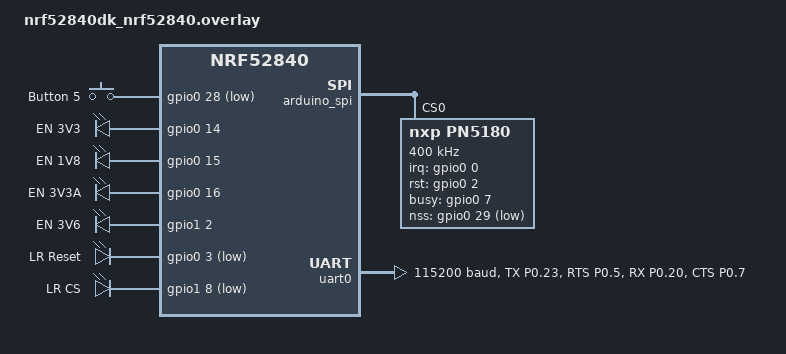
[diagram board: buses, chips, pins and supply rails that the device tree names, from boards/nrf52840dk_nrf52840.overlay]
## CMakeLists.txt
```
cmake_minimum_required(VERSION 3.20.0)

# Add the PN5180 driver module before finding Zephyr
list(APPEND EXTRA_ZEPHYR_MODULES ${CMAKE_CURRENT_SOURCE_DIR}/../pn5180)

find_package(Zephyr REQUIRED HINTS $ENV{ZEPHYR_BASE})

project(pn5180_nfc_app)

# Add source files
target_sources(app PRIVATE
    src/main.c
    src/power_ctrl.c
)

# Add include directories
target_include_directories(app PRIVATE
    ../pn5180/include
)
```

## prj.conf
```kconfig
# SPI Configuration
CONFIG_SPI=y

# GPIO Configuration
CONFIG_GPIO=y

# Logging
CONFIG_LOG=y
# CONFIG_SHELL=y
CONFIG_LOG_DEFAULT_LEVEL=3

# PN5180 Driver
CONFIG_PN5180=y
CONFIG_PN5180_LOG_LEVEL=3
CONFIG_PN5180_INIT_PRIORITY=80

# Threading support (these are enabled by default in Zephyr)
CONFIG_MULTITHREADING=y

# Enable button for testing
CONFIG_SPI_ASYNC=y
CONFIG_SPI_SLAVE=y

CONFIG_LOG=y
CONFIG_LOG_MODE_IMMEDIATE=y
CONFIG_SERIAL=y
CONFIG_CONSOLE=y
CONFIG_UART_CONSOLE=y
CONFIG_LOG_BACKEND_UART=y
```

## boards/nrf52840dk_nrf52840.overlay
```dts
&arduino_spi {
	status = "okay";
	pn5180: pn5180@0 {
 		compatible = "nxp,pn5180";
		reg = <0>;
		spi-max-frequency = <400000>;
		irq-gpios = <&gpio0 0 GPIO_ACTIVE_HIGH>;
		rst-gpios = <&gpio0 2 GPIO_ACTIVE_HIGH>;
		busy-gpios = <&gpio0 7 GPIO_ACTIVE_HIGH>;
		nss-gpios = <&gpio0 29 GPIO_ACTIVE_LOW>;
		timeout-ms = <5000>;
	};
};


/* ---------- PINCTRL configuration ---------- */
&pinctrl {
    uart0_default: uart0_default {
        group1 {
            psels = <NRF_PSEL(UART_TX, 0, 23)>,
                    <NRF_PSEL(UART_RTS, 0, 5)>;
        };
        group2 {
            psels = <NRF_PSEL(UART_RX, 0, 20)>,
                    <NRF_PSEL(UART_CTS, 0, 7)>;
            bias-pull-up;
        };
    };

    uart0_sleep: uart0_sleep {
        group1 {
            psels = <NRF_PSEL(UART_TX, 0, 23)>,
                    <NRF_PSEL(UART_RX, 0, 20)>,
                    <NRF_PSEL(UART_RTS, 0, 5)>,
                    <NRF_PSEL(UART_CTS, 0, 7)>;
            low-power-enable;
        };
    };
};

/* ---------- UART configuration ---------- */
&uart0 {
    compatible = "nordic,nrf-uarte";
    status = "okay";
    current-speed = <115200>;

    /* Link pinctrl groups */
    pinctrl-0 = <&uart0_default>;
    pinctrl-1 = <&uart0_sleep>;
    pinctrl-names = "default", "sleep";

    /* Optional: disable HW flow control if not used */
    // hw-flow-control;
};	
	

// &spi1 {	
// 	status="disabled";
// };	
	

/* Wake-up GPIO configuration */
/ {
	aliases {
		wakeup = &button5;
	};
	
	buttons {
		compatible = "gpio-keys";

        button5: button_5 {
            label = "Button 5";
            gpios = <&gpio0 28 (GPIO_ACTIVE_LOW | GPIO_PULL_UP)>;
        };

	};

	enables {
		compatible = "gpio-leds";

		en3v3: en3v3 {
			gpios = <&gpio0 14 GPIO_ACTIVE_HIGH>;
			label = "EN 3V3";
		};

		en1v8: en1v8 {
			gpios = <&gpio0 15 GPIO_ACTIVE_HIGH>;
			label = "EN 1V8";
		};

		en3v3a: en3v3a {
			gpios = <&gpio0 16 GPIO_ACTIVE_HIGH>;
			label = "EN 3V3A";
		};

		en3v6: en3v6 {
			gpios = <&gpio1 2 GPIO_ACTIVE_HIGH>;
			label = "EN 3V6";
		};

		lrreset: lrreset {
			gpios = <&gpio0 3 GPIO_ACTIVE_LOW>;
			label = "LR Reset";
		};

		lrcs: lrcs {
			gpios = <&gpio1 8 GPIO_ACTIVE_LOW>;
			label = "LR CS";
		};
	};
};
```

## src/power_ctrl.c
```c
#include "power_ctrl.h"

#include <zephyr/device.h>
#include <zephyr/devicetree.h>
#include <zephyr/drivers/gpio.h>
#include <zephyr/kernel.h>
#include <zephyr/logging/log.h>
#include <zephyr/sys/util.h>

LOG_MODULE_REGISTER(power_ctrl, LOG_LEVEL_INF);

#define EN3V3_NODE DT_NODELABEL(en3v3)
#define EN1V8_NODE DT_NODELABEL(en1v8)
#define EN3V3A_NODE DT_NODELABEL(en3v3a)
#define EN3V6_NODE DT_NODELABEL(en3v6)
#define LR_RESET_NODE DT_NODELABEL(lrreset)
#define LR_CS_NODE DT_NODELABEL(lrcs)

static const struct gpio_dt_spec power_gpios[POWER_DOMAIN_COUNT] = {
    GPIO_DT_SPEC_GET_OR(EN3V3_NODE, gpios, {0}),
    GPIO_DT_SPEC_GET_OR(EN1V8_NODE, gpios, {0}),
    GPIO_DT_SPEC_GET_OR(EN3V3A_NODE, gpios, {0}),
    GPIO_DT_SPEC_GET_OR(EN3V6_NODE, gpios, {0}),
    GPIO_DT_SPEC_GET_OR(LR_RESET_NODE, gpios, {0}),
    GPIO_DT_SPEC_GET_OR(LR_CS_NODE, gpios, {0}),
};

int power_ctrl_init(void) {
  int ret;

  for (int i = 0; i < POWER_DOMAIN_COUNT; i++) {
    if (!gpio_is_ready_dt(&power_gpios[i])) {
      LOG_ERR("Power GPIO %d device %s not ready", i,
              power_gpios[i].port->name);
      return -ENODEV;
    }

    ret = gpio_pin_configure_dt(&power_gpios[i], GPIO_OUTPUT_INACTIVE);
    if (ret != 0) {
      LOG_ERR("Failed to configure power GPIO %d", i);
      return ret;
    }

    LOG_INF("Initialized power GPIO %d on %s pin %d", i,
            power_gpios[i].port->name, power_gpios[i].pin);
  }

  return 0;
}

int power_ctrl_set(enum power_domain domain, bool enable) {
  if (domain < 0 || domain >= POWER_DOMAIN_COUNT) {
    return -EINVAL;
  }

  return gpio_pin_set_dt(&power_gpios[domain], enable);
}

int power_ctrl_toggle(enum power_domain domain) {
  if (domain < 0 || domain >= POWER_DOMAIN_COUNT) {
    return -EINVAL;
  }

  return gpio_pin_toggle_dt(&power_gpios[domain]);
}
```

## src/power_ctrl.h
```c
#ifndef POWER_CTRL_H
#define POWER_CTRL_H

#include <stdbool.h>

enum power_domain {
  POWER_EN_3V3 = 0,
  POWER_EN_1V8,
  POWER_EN_3V3A,
  POWER_EN_3V6,
  POWER_LR_RESET,
  POWER_LR_CS,
  POWER_DOMAIN_COUNT,
};

int power_ctrl_init(void);
int power_ctrl_set(enum power_domain domain, bool enable);
int power_ctrl_toggle(enum power_domain domain);

#endif /* POWER_CTRL_H */
```
